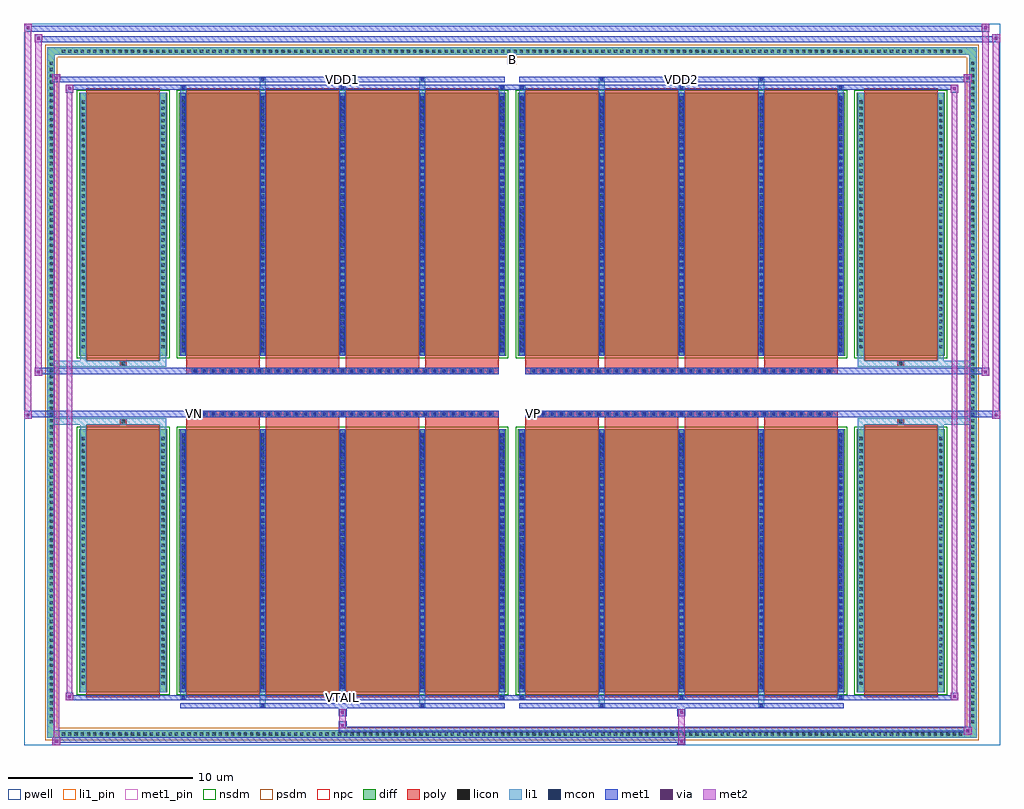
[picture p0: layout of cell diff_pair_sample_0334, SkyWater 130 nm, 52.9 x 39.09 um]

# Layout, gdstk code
import gdstk
lib = gdstk.Library(unit=1e-6, precision=5e-09)
def R(c, l, rs):  # rectangles x0, y0, x1, y1
    for r in rs: c.add(gdstk.rectangle(r[:2], r[2:], *l))
def A(c, l, x, y, w, h, nx, ny, dx, dy):  # array of equal rectangles
    R(c, l, [(x+i*dx, y+j*dy, x+i*dx+w, y+j*dy+h) for i in range(nx) for j in range(ny)])
def P(c, l, *ps):  # polygons
    for p in ps: c.add(gdstk.Polygon(p, *l))
pwell = (64, 44)
diff = (65, 20)
poly = (66, 20)
licon = (66, 44)
li1_pin = (67, 16)
li1 = (67, 20)
mcon = (67, 44)
met1_pin = (68, 16)
met1 = (68, 20)
via = (68, 44)
met2 = (69, 20)
nsdm = (93, 44)
psdm = (94, 20)
npc = (95, 20)

diff_pair_sample_0334 = lib.new_cell('diff_pair_sample_0334')
R(diff_pair_sample_0334, pwell, [(-26.45,-19.11,26.45,19.98), (-23.77,-17.3,-0.01,-0.8), (0.01,-17.3,23.77,-0.8), (-23.77,0.8,-0.01,17.3), (0.01,0.8,23.77,17.3)])
A(diff_pair_sample_0334, diff, -24.515, -18.71, 0.41, 0.41, 144, 2, 0.34, 37.01)
A(diff_pair_sample_0334, diff, -25.18, -18.055, 0.41, 0.41, 1, 106, 0, 0.34)
A(diff_pair_sample_0334, diff, 24.77, -18.055, 0.41, 0.41, 1, 106, 0, 0.34)
R(diff_pair_sample_0334, diff, [(-24.515,-18.71,24.515,-18.3), (-25.18,-18.055,-24.77,18.055), (24.77,-18.055,25.18,18.055), (-23.46,-16.255,-18.69,-1.985), (-18.05,-16.255,-0.32,-1.985), (0.32,-16.255,18.05,-1.985), (18.69,-16.255,23.46,-1.985), (-23.46,1.985,-18.69,16.255), (-18.05,1.985,-0.32,16.255), (0.32,1.985,18.05,16.255), (18.69,1.985,23.46,16.255), (-24.515,18.3,24.515,18.71)])
P(diff_pair_sample_0334, diff, [(25.18,18.71),(-25.18,18.71),(-25.18,-18.3),(-24.77,-18.3),(-24.77,18.3),(24.77,18.3),(24.77,-18.3),(-24.77,-18.3),(-25.18,-18.3),(-25.18,-18.71),(25.18,-18.71)])
A(diff_pair_sample_0334, poly, -17.66, -16.505, 3.99, 14.77, 4, 2, 4.32, 18.24)
A(diff_pair_sample_0334, poly, 0.71, -16.505, 3.99, 14.77, 4, 2, 4.32, 18.24)
A(diff_pair_sample_0334, poly, -17.66, -1.735, 3.99, 0.405, 4, 2, 4.32, 3.065)
A(diff_pair_sample_0334, poly, 0.71, -1.735, 3.99, 0.405, 4, 2, 4.32, 3.065)
A(diff_pair_sample_0334, poly, -17.35, -1.33, 0.33, 0.33, 33, 2, 0.5, 2.33)
A(diff_pair_sample_0334, poly, 1.02, -1.33, 0.33, 0.33, 33, 2, 0.5, 2.33)
R(diff_pair_sample_0334, poly, [(-23.07,-16.505,-19.08,-1.735), (19.08,-16.505,23.07,-1.735), (-21.24,-1.735,-20.91,-1.405), (-21.24,-1.735,-20.91,-1.405), (20.91,-1.735,21.24,-1.405), (20.91,-1.735,21.24,-1.405), (-17.66,-1.33,-0.71,-1), (0.71,-1.33,17.66,-1), (-17.66,1,-0.71,1.33), (0.71,1,17.66,1.33), (-21.24,1.405,-20.91,1.735), (-21.24,1.405,-20.91,1.735), (20.91,1.405,21.24,1.735), (20.91,1.405,21.24,1.735), (-23.07,1.735,-19.08,16.505), (19.08,1.735,23.07,16.505)])
A(diff_pair_sample_0334, licon, -24.395, -18.59, 0.17, 0.17, 144, 2, 0.34, 37.01)
A(diff_pair_sample_0334, licon, -25.06, -17.935, 0.17, 0.17, 1, 106, 0, 0.34)
A(diff_pair_sample_0334, licon, 24.89, -17.935, 0.17, 0.17, 1, 106, 0, 0.34)
A(diff_pair_sample_0334, licon, -23.32, -15.835, 0.17, 0.17, 1, 40, 0, 0.34)
A(diff_pair_sample_0334, licon, -19, -15.835, 0.17, 0.17, 1, 40, 0, 0.34)
A(diff_pair_sample_0334, licon, -17.91, -15.835, 0.17, 0.17, 5, 40, 4.32, 0.34)
A(diff_pair_sample_0334, licon, 0.46, -15.835, 0.17, 0.17, 5, 40, 4.32, 0.34)
A(diff_pair_sample_0334, licon, 18.83, -15.835, 0.17, 0.17, 1, 40, 0, 0.34)
A(diff_pair_sample_0334, licon, 23.15, -15.835, 0.17, 0.17, 1, 40, 0, 0.34)
A(diff_pair_sample_0334, licon, -17.27, -1.25, 0.17, 0.17, 33, 2, 0.5, 2.33)
A(diff_pair_sample_0334, licon, 1.1, -1.25, 0.17, 0.17, 33, 2, 0.5, 2.33)
A(diff_pair_sample_0334, licon, -23.32, 2.405, 0.17, 0.17, 1, 40, 0, 0.34)
A(diff_pair_sample_0334, licon, -19, 2.405, 0.17, 0.17, 1, 40, 0, 0.34)
A(diff_pair_sample_0334, licon, -17.91, 2.405, 0.17, 0.17, 5, 40, 4.32, 0.34)
A(diff_pair_sample_0334, licon, 0.46, 2.405, 0.17, 0.17, 5, 40, 4.32, 0.34)
A(diff_pair_sample_0334, licon, 18.83, 2.405, 0.17, 0.17, 1, 40, 0, 0.34)
A(diff_pair_sample_0334, licon, 23.15, 2.405, 0.17, 0.17, 1, 40, 0, 0.34)
R(diff_pair_sample_0334, licon, [(-21.16,-1.655,-20.99,-1.485), (20.99,-1.655,21.16,-1.485), (-21.16,1.485,-20.99,1.655), (20.99,1.485,21.16,1.655)])
R(diff_pair_sample_0334, li1_pin, [(-0.25,17.8,0.25,18.3)])
A(diff_pair_sample_0334, li1, -24.475, -18.67, 0.33, 0.33, 144, 2, 0.34, 37.01)
A(diff_pair_sample_0334, li1, -25.14, -18.015, 0.33, 0.33, 1, 106, 0, 0.34)
A(diff_pair_sample_0334, li1, 24.81, -18.015, 0.33, 0.33, 1, 106, 0, 0.34)
A(diff_pair_sample_0334, li1, -17.99, -16.63, 0.33, 0.375, 3, 2, 8.64, 32.885)
A(diff_pair_sample_0334, li1, -17.91, -16.63, 0.17, 0.17, 3, 2, 8.64, 33.09)
A(diff_pair_sample_0334, li1, 0.38, -16.63, 0.33, 0.375, 3, 2, 8.64, 32.885)
A(diff_pair_sample_0334, li1, 0.46, -16.63, 0.17, 0.17, 3, 2, 8.64, 33.09)
A(diff_pair_sample_0334, li1, -17.99, -16.255, 0.33, 14.27, 5, 2, 4.32, 18.24)
A(diff_pair_sample_0334, li1, 0.38, -16.255, 0.33, 14.27, 5, 2, 4.32, 18.24)
A(diff_pair_sample_0334, li1, -17.91, -16.045, 0.17, 0.17, 5, 39, 4.32, 0.36)
A(diff_pair_sample_0334, li1, -17.91, -16.045, 0.17, 13.85, 5, 2, 4.32, 18.24)
A(diff_pair_sample_0334, li1, 0.46, -16.045, 0.17, 0.17, 5, 39, 4.32, 0.36)
A(diff_pair_sample_0334, li1, 0.46, -16.045, 0.17, 13.85, 5, 2, 4.32, 18.24)
A(diff_pair_sample_0334, li1, -23.4, -15.915, 0.33, 0.33, 1, 40, 0, 0.34)
A(diff_pair_sample_0334, li1, -19.08, -15.915, 0.33, 0.33, 1, 40, 0, 0.34)
A(diff_pair_sample_0334, li1, -17.99, -15.915, 0.33, 0.33, 5, 40, 4.32, 0.34)
A(diff_pair_sample_0334, li1, 0.38, -15.915, 0.33, 0.33, 5, 40, 4.32, 0.34)
A(diff_pair_sample_0334, li1, 18.75, -15.915, 0.33, 0.33, 1, 40, 0, 0.34)
A(diff_pair_sample_0334, li1, 23.07, -15.915, 0.33, 0.33, 1, 40, 0, 0.34)
A(diff_pair_sample_0334, li1, -17.35, -1.33, 0.33, 0.33, 33, 2, 0.5, 2.33)
A(diff_pair_sample_0334, li1, 1.02, -1.33, 0.33, 0.33, 33, 2, 0.5, 2.33)
A(diff_pair_sample_0334, li1, -17.91, 2.195, 0.17, 0.17, 5, 39, 4.32, 0.36)
A(diff_pair_sample_0334, li1, 0.46, 2.195, 0.17, 0.17, 5, 39, 4.32, 0.36)
A(diff_pair_sample_0334, li1, -23.4, 2.325, 0.33, 0.33, 1, 40, 0, 0.34)
A(diff_pair_sample_0334, li1, -19.08, 2.325, 0.33, 0.33, 1, 40, 0, 0.34)
A(diff_pair_sample_0334, li1, -17.99, 2.325, 0.33, 0.33, 5, 40, 4.32, 0.34)
A(diff_pair_sample_0334, li1, 0.38, 2.325, 0.33, 0.33, 5, 40, 4.32, 0.34)
A(diff_pair_sample_0334, li1, 18.75, 2.325, 0.33, 0.33, 1, 40, 0, 0.34)
A(diff_pair_sample_0334, li1, 23.07, 2.325, 0.33, 0.33, 1, 40, 0, 0.34)
R(diff_pair_sample_0334, li1, [(-25.18,-18.71,-24.77,-18.3), (-25.18,-18.71,-24.77,-18.3), (-24.77,-18.71,24.77,-18.3), (24.77,-18.71,25.18,-18.3), (24.77,-18.71,25.18,-18.3), (-25.18,-18.3,-24.77,18.3), (24.77,-18.3,25.18,18.3), (-13.67,-17.06,-13.34,-16.255), (-13.59,-17.06,-13.42,-16.89), (-5.03,-17.06,-4.7,-16.255), (-4.95,-17.06,-4.78,-16.89), (4.7,-17.06,5.03,-16.255), (4.78,-17.06,4.95,-16.89), (13.34,-17.06,13.67,-16.255), (13.42,-17.06,13.59,-16.89), (-23.4,-16.255,-23.07,-1.985), (-19.08,-16.255,-18.75,-1.985), (18.75,-16.255,19.08,-1.985), (23.07,-16.255,23.4,-1.985), (-23.4,-1.985,-23.07,-1.405), (-19.08,-1.985,-18.75,-1.405), (18.75,-1.985,19.08,-1.405), (23.07,-1.985,23.4,-1.405), (-25.18,-1.735,-21.24,-1.405), (-23.4,-1.735,-21.24,-1.405), (-21.24,-1.735,-20.91,-1.405), (-20.91,-1.735,-18.75,-1.405), (18.75,-1.735,20.91,-1.405), (20.91,-1.735,21.24,-1.405), (20.91,-1.735,25.18,-1.405), (21.24,-1.735,23.4,-1.405), (-25.18,1.405,-21.24,1.735), (-23.4,1.405,-21.24,1.735), (-23.4,1.405,-23.07,1.985), (-21.24,1.405,-20.91,1.735), (-20.91,1.405,-18.75,1.735), (-19.08,1.405,-18.75,1.985), (18.75,1.405,20.91,1.735), (18.75,1.405,19.08,1.985), (20.91,1.405,21.24,1.735), (20.91,1.405,25.18,1.735), (21.24,1.405,23.4,1.735), (23.07,1.405,23.4,1.985), (-23.4,1.985,-23.07,16.255), (-19.08,1.985,-18.75,16.255), (18.75,1.985,19.08,16.255), (23.07,1.985,23.4,16.255), (-13.67,16.255,-13.34,17.06), (-5.03,16.255,-4.7,17.06), (4.7,16.255,5.03,17.06), (13.34,16.255,13.67,17.06), (-13.59,16.89,-13.42,17.06), (-4.95,16.89,-4.78,17.06), (4.78,16.89,4.95,17.06), (13.42,16.89,13.59,17.06), (-25.18,18.3,-24.77,18.71), (-25.18,18.3,-24.77,18.71), (-24.77,18.3,24.77,18.71), (24.77,18.3,25.18,18.71), (24.77,18.3,25.18,18.71)])
A(diff_pair_sample_0334, mcon, -17.91, -16.63, 0.17, 0.17, 3, 2, 8.64, 33.09)
A(diff_pair_sample_0334, mcon, 0.46, -16.63, 0.17, 0.17, 3, 2, 8.64, 33.09)
A(diff_pair_sample_0334, mcon, -17.91, -16.045, 0.17, 0.17, 5, 39, 4.32, 0.36)
A(diff_pair_sample_0334, mcon, 0.46, -16.045, 0.17, 0.17, 5, 39, 4.32, 0.36)
A(diff_pair_sample_0334, mcon, -17.27, -1.25, 0.17, 0.17, 33, 2, 0.5, 2.33)
A(diff_pair_sample_0334, mcon, 1.1, -1.25, 0.17, 0.17, 33, 2, 0.5, 2.33)
A(diff_pair_sample_0334, mcon, -17.91, 2.195, 0.17, 0.17, 5, 39, 4.32, 0.36)
A(diff_pair_sample_0334, mcon, 0.46, 2.195, 0.17, 0.17, 5, 39, 4.32, 0.36)
R(diff_pair_sample_0334, mcon, [(-13.59,-17.06,-13.42,-16.89), (-4.95,-17.06,-4.78,-16.89), (4.78,-17.06,4.95,-16.89), (13.42,-17.06,13.59,-16.89), (-13.59,16.89,-13.42,17.06), (-4.95,16.89,-4.78,17.06), (4.78,16.89,4.95,17.06), (13.42,16.89,13.59,17.06)])
R(diff_pair_sample_0334, met1_pin, [(-9.32,-16.67,-9.05,-16.4), (-17.32,-1.29,-17.05,-1.02), (1.05,-1.29,1.32,-1.02), (-9.32,16.85,-9.05,17.12), (9.05,16.85,9.32,17.12)])
A(diff_pair_sample_0334, met1, -17.97, -16.69, 0.29, 0.29, 3, 2, 8.64, 33.09)
A(diff_pair_sample_0334, met1, 0.4, -16.69, 0.29, 0.29, 3, 2, 8.64, 33.09)
A(diff_pair_sample_0334, met1, -17.97, -16.255, 0.29, 14.27, 5, 2, 4.32, 18.24)
A(diff_pair_sample_0334, met1, 0.4, -16.255, 0.29, 14.27, 5, 2, 4.32, 18.24)
A(diff_pair_sample_0334, met1, -17.97, -16.105, 0.29, 0.29, 5, 39, 4.32, 0.36)
A(diff_pair_sample_0334, met1, 0.4, -16.105, 0.29, 0.29, 5, 39, 4.32, 0.36)
A(diff_pair_sample_0334, met1, -17.33, -1.31, 0.29, 0.29, 33, 2, 0.5, 2.33)
A(diff_pair_sample_0334, met1, 1.04, -1.31, 0.29, 0.29, 33, 2, 0.5, 2.33)
A(diff_pair_sample_0334, met1, -17.97, 2.135, 0.29, 0.29, 5, 39, 4.32, 0.36)
A(diff_pair_sample_0334, met1, 0.4, 2.135, 0.29, 0.29, 5, 39, 4.32, 0.36)
R(diff_pair_sample_0334, met1, [(-24.91,-19.11,-24.48,-18.68), (8.97,-19.11,9.4,-18.68), (-24.91,-18.97,9.4,-18.68), (24.48,-18.54,24.91,-18.11), (-9.4,-18.4,24.91,-18.11), (-9.4,-18.26,-8.97,-17.83), (-9.4,-17.55,-8.97,-17.12), (8.97,-17.55,9.4,-17.12), (-17.97,-17.12,-0.4,-16.83), (-13.65,-17.12,-13.36,-16.83), (-5.01,-17.12,-4.72,-16.83), (0.4,-17.12,17.97,-16.83), (4.72,-17.12,5.01,-16.83), (13.36,-17.12,13.65,-16.83), (-24.2,-16.69,-23.77,-16.26), (-24.2,-16.69,-17.97,-16.4), (-17.97,-16.69,-0.4,-16.4), (-0.4,-16.69,0.4,-16.4), (0.4,-16.69,17.97,-16.4), (17.97,-16.69,24.2,-16.4), (23.77,-16.69,24.2,-16.26), (-26.45,-1.43,-26.02,-1), (26.02,-1.43,26.45,-1), (-26.45,-1.33,-0.71,-1), (-17.66,-1.33,-0.71,-1), (0.71,-1.33,17.66,-1), (0.71,-1.33,26.45,-1), (-25.88,0.9,-25.45,1.33), (25.45,0.9,25.88,1.33), (-25.88,1,-17.66,1.33), (-17.66,1,-0.71,1.33), (0.71,1,17.66,1.33), (17.66,1,25.88,1.33), (-24.2,16.26,-23.77,16.69), (23.77,16.26,24.2,16.69), (-24.2,16.4,-17.97,16.69), (-17.97,16.4,-0.4,16.69), (-0.4,16.4,0.4,16.69), (0.4,16.4,17.97,16.69), (17.97,16.4,24.2,16.69), (-24.91,16.83,-24.48,17.26), (-24.91,16.83,-17.97,17.12), (-17.97,16.83,-0.4,17.12), (-13.65,16.83,-13.36,17.12), (-5.01,16.83,-4.72,17.12), (0.4,16.83,17.97,17.12), (4.72,16.83,5.01,17.12), (13.36,16.83,13.65,17.12), (17.97,16.83,24.91,17.12), (24.48,16.83,24.91,17.26), (-25.88,18.98,-25.45,19.41), (-25.88,18.98,-23.77,19.31), (-23.77,18.98,23.77,19.31), (23.77,18.98,26.45,19.31), (26.02,18.98,26.45,19.41), (-26.45,19.55,-26.02,19.98), (-26.45,19.55,-23.77,19.88), (-23.77,19.55,23.77,19.88), (23.77,19.55,25.88,19.88), (25.45,19.55,25.88,19.98)])
R(diff_pair_sample_0334, via, [(-24.77,-18.97,-24.62,-18.82), (9.11,-18.97,9.26,-18.82), (24.62,-18.4,24.77,-18.25), (-9.26,-18.12,-9.11,-17.97), (-9.26,-17.41,-9.11,-17.26), (9.11,-17.41,9.26,-17.26), (-24.06,-16.55,-23.91,-16.4), (23.91,-16.55,24.06,-16.4), (-26.31,-1.29,-26.16,-1.14), (26.16,-1.29,26.31,-1.14), (-25.74,1.04,-25.59,1.19), (25.59,1.04,25.74,1.19), (-24.06,16.4,-23.91,16.55), (23.91,16.4,24.06,16.55), (-24.77,16.97,-24.62,17.12), (24.62,16.97,24.77,17.12), (-25.74,19.12,-25.59,19.27), (26.16,19.12,26.31,19.27), (-26.31,19.69,-26.16,19.84), (25.59,19.69,25.74,19.84)])
R(diff_pair_sample_0334, met2, [(-24.91,-19.11,-24.48,-18.68), (-24.84,-19.11,-24.55,17.26), (-24.55,-19.11,-24.48,-18.68), (-24.86,-19.06,-24.53,-18.73), (9.02,-19.06,9.35,-18.73), (9.02,-18.73,9.35,-17.5), (24.48,-18.54,24.91,-18.11), (24.55,-18.54,24.84,17.26), (24.84,-18.54,24.91,-18.11), (24.53,-18.49,24.86,-18.16), (-9.35,-18.21,-9.02,-17.88), (-9.35,-17.88,-9.02,-17.5), (-9.35,-17.5,-9.02,-17.17), (9.02,-17.5,9.35,-17.17), (-24.2,-16.69,-23.77,-16.26), (-24.13,-16.69,-23.84,16.69), (-23.84,-16.69,-23.77,-16.26), (23.77,-16.69,24.2,-16.26), (23.84,-16.69,24.13,16.69), (24.13,-16.69,24.2,-16.26), (-24.15,-16.64,-23.82,-16.31), (23.82,-16.64,24.15,-16.31), (-26.45,-1.43,-26.02,-1), (-26.4,-1.43,-26.07,19.98), (-26.07,-1.43,-26.02,-1), (26.02,-1.43,26.45,-1), (26.07,-1.43,26.4,19.41), (26.4,-1.43,26.45,-1), (-26.4,-1.38,-26.07,-1.05), (26.07,-1.38,26.4,-1.05), (-25.88,0.9,-25.45,1.33), (-25.83,0.9,-25.5,19.41), (-25.5,0.9,-25.45,1.33), (25.45,0.9,25.88,1.33), (25.5,0.9,25.83,19.98), (25.83,0.9,25.88,1.33), (-25.83,0.95,-25.5,1.28), (25.5,0.95,25.83,1.28), (-24.2,16.26,-23.77,16.69), (-23.84,16.26,-23.77,16.69), (23.77,16.26,24.2,16.69), (24.13,16.26,24.2,16.69), (-24.15,16.31,-23.82,16.64), (23.82,16.31,24.15,16.64), (-24.91,16.83,-24.48,17.26), (-24.55,16.83,-24.48,17.26), (24.48,16.83,24.91,17.26), (24.84,16.83,24.91,17.26), (-24.86,16.88,-24.53,17.21), (24.53,16.88,24.86,17.21), (-25.88,18.98,-25.45,19.41), (-25.5,18.98,-25.45,19.41), (26.02,18.98,26.45,19.41), (26.4,18.98,26.45,19.41), (-25.83,19.03,-25.5,19.36), (26.07,19.03,26.4,19.36), (-26.45,19.55,-26.02,19.98), (-26.07,19.55,-26.02,19.98), (25.45,19.55,25.88,19.98), (25.83,19.55,25.88,19.98), (-26.4,19.6,-26.07,19.93), (25.5,19.6,25.83,19.93)])
R(diff_pair_sample_0334, nsdm, [(-23.59,-16.385,-18.56,-1.855), (-18.18,-16.385,-0.19,-1.855), (0.19,-16.385,18.18,-1.855), (18.56,-16.385,23.59,-1.855), (-23.59,1.855,-18.56,16.385), (-18.18,1.855,-0.19,16.385), (0.19,1.855,18.18,16.385), (18.56,1.855,23.59,16.385)])
P(diff_pair_sample_0334, psdm, [(25.31,18.84),(-25.31,18.84),(-25.31,-18.17),(-24.64,-18.17),(-24.64,18.17),(24.64,18.17),(24.64,-18.17),(-24.64,-18.17),(-25.31,-18.17),(-25.31,-18.84),(25.31,-18.84)])
A(diff_pair_sample_0334, npc, -17.37, -1.35, 0.37, 0.37, 33, 2, 0.5, 2.33)
A(diff_pair_sample_0334, npc, 1, -1.35, 0.37, 0.37, 33, 2, 0.5, 2.33)
R(diff_pair_sample_0334, npc, [(-21.26,-1.755,-20.89,-1.385), (20.89,-1.755,21.26,-1.385), (-17.37,-1.35,-16.5,-0.98), (-17.37,-1.35,-16.5,-0.98), (-16.87,-1.35,-16,-0.98), (-16.87,-1.35,-16,-0.98), (-16.37,-1.35,-15.5,-0.98), (-16.37,-1.35,-15.5,-0.98), (-15.87,-1.35,-15,-0.98), (-15.87,-1.35,-15,-0.98), (-15.37,-1.35,-14.5,-0.98), (-15.37,-1.35,-14.5,-0.98), (-14.87,-1.35,-14,-0.98), (-14.87,-1.35,-14,-0.98), (-14.37,-1.35,-13.5,-0.98), (-14.37,-1.35,-13.5,-0.98), (-13.87,-1.35,-13,-0.98), (-13.87,-1.35,-13,-0.98), (-13.37,-1.35,-12.5,-0.98), (-13.37,-1.35,-12.5,-0.98), (-12.87,-1.35,-12,-0.98), (-12.87,-1.35,-12,-0.98), (-12.37,-1.35,-11.5,-0.98), (-12.37,-1.35,-11.5,-0.98), (-11.87,-1.35,-11,-0.98), (-11.87,-1.35,-11,-0.98), (-11.37,-1.35,-10.5,-0.98), (-11.37,-1.35,-10.5,-0.98), (-10.87,-1.35,-10,-0.98), (-10.87,-1.35,-10,-0.98), (-10.37,-1.35,-9.5,-0.98), (-10.37,-1.35,-9.5,-0.98), (-9.87,-1.35,-9,-0.98), (-9.87,-1.35,-9,-0.98), (-9.37,-1.35,-8.5,-0.98), (-9.37,-1.35,-8.5,-0.98), (-8.87,-1.35,-8,-0.98), (-8.87,-1.35,-8,-0.98), (-8.37,-1.35,-7.5,-0.98), (-8.37,-1.35,-7.5,-0.98), (-7.87,-1.35,-7,-0.98), (-7.87,-1.35,-7,-0.98), (-7.37,-1.35,-6.5,-0.98), (-7.37,-1.35,-6.5,-0.98), (-6.87,-1.35,-6,-0.98), (-6.87,-1.35,-6,-0.98), (-6.37,-1.35,-5.5,-0.98), (-6.37,-1.35,-5.5,-0.98), (-5.87,-1.35,-5,-0.98), (-5.87,-1.35,-5,-0.98), (-5.37,-1.35,-4.5,-0.98), (-5.37,-1.35,-4.5,-0.98), (-4.87,-1.35,-4,-0.98), (-4.87,-1.35,-4,-0.98), (-4.37,-1.35,-3.5,-0.98), (-4.37,-1.35,-3.5,-0.98), (-3.87,-1.35,-3,-0.98), (-3.87,-1.35,-3,-0.98), (-3.37,-1.35,-2.5,-0.98), (-3.37,-1.35,-2.5,-0.98), (-2.87,-1.35,-2,-0.98), (-2.87,-1.35,-2,-0.98), (-2.37,-1.35,-1.5,-0.98), (-2.37,-1.35,-1.5,-0.98), (-1.87,-1.35,-1,-0.98), (-1.87,-1.35,-1,-0.98), (1,-1.35,1.87,-0.98), (1,-1.35,1.87,-0.98), (1.5,-1.35,2.37,-0.98), (1.5,-1.35,2.37,-0.98), (2,-1.35,2.87,-0.98), (2,-1.35,2.87,-0.98), (2.5,-1.35,3.37,-0.98), (2.5,-1.35,3.37,-0.98), (3,-1.35,3.87,-0.98), (3,-1.35,3.87,-0.98), (3.5,-1.35,4.37,-0.98), (3.5,-1.35,4.37,-0.98), (4,-1.35,4.87,-0.98), (4,-1.35,4.87,-0.98), (4.5,-1.35,5.37,-0.98), (4.5,-1.35,5.37,-0.98), (5,-1.35,5.87,-0.98), (5,-1.35,5.87,-0.98), (5.5,-1.35,6.37,-0.98), (5.5,-1.35,6.37,-0.98), (6,-1.35,6.87,-0.98), (6,-1.35,6.87,-0.98), (6.5,-1.35,7.37,-0.98), (6.5,-1.35,7.37,-0.98), (7,-1.35,7.87,-0.98), (7,-1.35,7.87,-0.98), (7.5,-1.35,8.37,-0.98), (7.5,-1.35,8.37,-0.98), (8,-1.35,8.87,-0.98), (8,-1.35,8.87,-0.98), (8.5,-1.35,9.37,-0.98), (8.5,-1.35,9.37,-0.98), (9,-1.35,9.87,-0.98), (9,-1.35,9.87,-0.98), (9.5,-1.35,10.37,-0.98), (9.5,-1.35,10.37,-0.98), (10,-1.35,10.87,-0.98), (10,-1.35,10.87,-0.98), (10.5,-1.35,11.37,-0.98), (10.5,-1.35,11.37,-0.98), (11,-1.35,11.87,-0.98), (11,-1.35,11.87,-0.98), (11.5,-1.35,12.37,-0.98), (11.5,-1.35,12.37,-0.98), (12,-1.35,12.87,-0.98), (12,-1.35,12.87,-0.98), (12.5,-1.35,13.37,-0.98), (12.5,-1.35,13.37,-0.98), (13,-1.35,13.87,-0.98), (13,-1.35,13.87,-0.98), (13.5,-1.35,14.37,-0.98), (13.5,-1.35,14.37,-0.98), (14,-1.35,14.87,-0.98), (14,-1.35,14.87,-0.98), (14.5,-1.35,15.37,-0.98), (14.5,-1.35,15.37,-0.98), (15,-1.35,15.87,-0.98), (15,-1.35,15.87,-0.98), (15.5,-1.35,16.37,-0.98), (15.5,-1.35,16.37,-0.98), (16,-1.35,16.87,-0.98), (16,-1.35,16.87,-0.98), (16.5,-1.35,17.37,-0.98), (16.5,-1.35,17.37,-0.98), (-17.37,0.98,-16.5,1.35), (-17.37,0.98,-16.5,1.35), (-16.87,0.98,-16,1.35), (-16.87,0.98,-16,1.35), (-16.37,0.98,-15.5,1.35), (-16.37,0.98,-15.5,1.35), (-15.87,0.98,-15,1.35), (-15.87,0.98,-15,1.35), (-15.37,0.98,-14.5,1.35), (-15.37,0.98,-14.5,1.35), (-14.87,0.98,-14,1.35), (-14.87,0.98,-14,1.35), (-14.37,0.98,-13.5,1.35), (-14.37,0.98,-13.5,1.35), (-13.87,0.98,-13,1.35), (-13.87,0.98,-13,1.35), (-13.37,0.98,-12.5,1.35), (-13.37,0.98,-12.5,1.35), (-12.87,0.98,-12,1.35), (-12.87,0.98,-12,1.35), (-12.37,0.98,-11.5,1.35), (-12.37,0.98,-11.5,1.35), (-11.87,0.98,-11,1.35), (-11.87,0.98,-11,1.35), (-11.37,0.98,-10.5,1.35), (-11.37,0.98,-10.5,1.35), (-10.87,0.98,-10,1.35), (-10.87,0.98,-10,1.35), (-10.37,0.98,-9.5,1.35), (-10.37,0.98,-9.5,1.35), (-9.87,0.98,-9,1.35), (-9.87,0.98,-9,1.35), (-9.37,0.98,-8.5,1.35), (-9.37,0.98,-8.5,1.35), (-8.87,0.98,-8,1.35), (-8.87,0.98,-8,1.35), (-8.37,0.98,-7.5,1.35), (-8.37,0.98,-7.5,1.35), (-7.87,0.98,-7,1.35), (-7.87,0.98,-7,1.35), (-7.37,0.98,-6.5,1.35), (-7.37,0.98,-6.5,1.35), (-6.87,0.98,-6,1.35), (-6.87,0.98,-6,1.35), (-6.37,0.98,-5.5,1.35), (-6.37,0.98,-5.5,1.35), (-5.87,0.98,-5,1.35), (-5.87,0.98,-5,1.35), (-5.37,0.98,-4.5,1.35), (-5.37,0.98,-4.5,1.35), (-4.87,0.98,-4,1.35), (-4.87,0.98,-4,1.35), (-4.37,0.98,-3.5,1.35), (-4.37,0.98,-3.5,1.35), (-3.87,0.98,-3,1.35), (-3.87,0.98,-3,1.35), (-3.37,0.98,-2.5,1.35), (-3.37,0.98,-2.5,1.35), (-2.87,0.98,-2,1.35), (-2.87,0.98,-2,1.35), (-2.37,0.98,-1.5,1.35), (-2.37,0.98,-1.5,1.35), (-1.87,0.98,-1,1.35), (-1.87,0.98,-1,1.35), (1,0.98,1.87,1.35), (1,0.98,1.87,1.35), (1.5,0.98,2.37,1.35), (1.5,0.98,2.37,1.35), (2,0.98,2.87,1.35), (2,0.98,2.87,1.35), (2.5,0.98,3.37,1.35), (2.5,0.98,3.37,1.35), (3,0.98,3.87,1.35), (3,0.98,3.87,1.35), (3.5,0.98,4.37,1.35), (3.5,0.98,4.37,1.35), (4,0.98,4.87,1.35), (4,0.98,4.87,1.35), (4.5,0.98,5.37,1.35), (4.5,0.98,5.37,1.35), (5,0.98,5.87,1.35), (5,0.98,5.87,1.35), (5.5,0.98,6.37,1.35), (5.5,0.98,6.37,1.35), (6,0.98,6.87,1.35), (6,0.98,6.87,1.35), (6.5,0.98,7.37,1.35), (6.5,0.98,7.37,1.35), (7,0.98,7.87,1.35), (7,0.98,7.87,1.35), (7.5,0.98,8.37,1.35), (7.5,0.98,8.37,1.35), (8,0.98,8.87,1.35), (8,0.98,8.87,1.35), (8.5,0.98,9.37,1.35), (8.5,0.98,9.37,1.35), (9,0.98,9.87,1.35), (9,0.98,9.87,1.35), (9.5,0.98,10.37,1.35), (9.5,0.98,10.37,1.35), (10,0.98,10.87,1.35), (10,0.98,10.87,1.35), (10.5,0.98,11.37,1.35), (10.5,0.98,11.37,1.35), (11,0.98,11.87,1.35), (11,0.98,11.87,1.35), (11.5,0.98,12.37,1.35), (11.5,0.98,12.37,1.35), (12,0.98,12.87,1.35), (12,0.98,12.87,1.35), (12.5,0.98,13.37,1.35), (12.5,0.98,13.37,1.35), (13,0.98,13.87,1.35), (13,0.98,13.87,1.35), (13.5,0.98,14.37,1.35), (13.5,0.98,14.37,1.35), (14,0.98,14.87,1.35), (14,0.98,14.87,1.35), (14.5,0.98,15.37,1.35), (14.5,0.98,15.37,1.35), (15,0.98,15.87,1.35), (15,0.98,15.87,1.35), (15.5,0.98,16.37,1.35), (15.5,0.98,16.37,1.35), (16,0.98,16.87,1.35), (16,0.98,16.87,1.35), (16.5,0.98,17.37,1.35), (16.5,0.98,17.37,1.35), (-21.26,1.385,-20.89,1.755), (20.89,1.385,21.26,1.755)])
diff_pair_sample_0334.add(gdstk.Label('VTAIL', (-9.185,-16.535), layer=68, texttype=5))
diff_pair_sample_0334.add(gdstk.Label('VN', (-17.185,-1.155), layer=68, texttype=5))
diff_pair_sample_0334.add(gdstk.Label('VP', (1.185,-1.155), layer=68, texttype=5))
diff_pair_sample_0334.add(gdstk.Label('B', (0,18.05), layer=67, texttype=5))
diff_pair_sample_0334.add(gdstk.Label('VDD2', (9.185,16.985), layer=68, texttype=5))
diff_pair_sample_0334.add(gdstk.Label('VDD1', (-9.185,16.985), layer=68, texttype=5))

lib.write_gds('diff_pair_sample_0334.gds')
